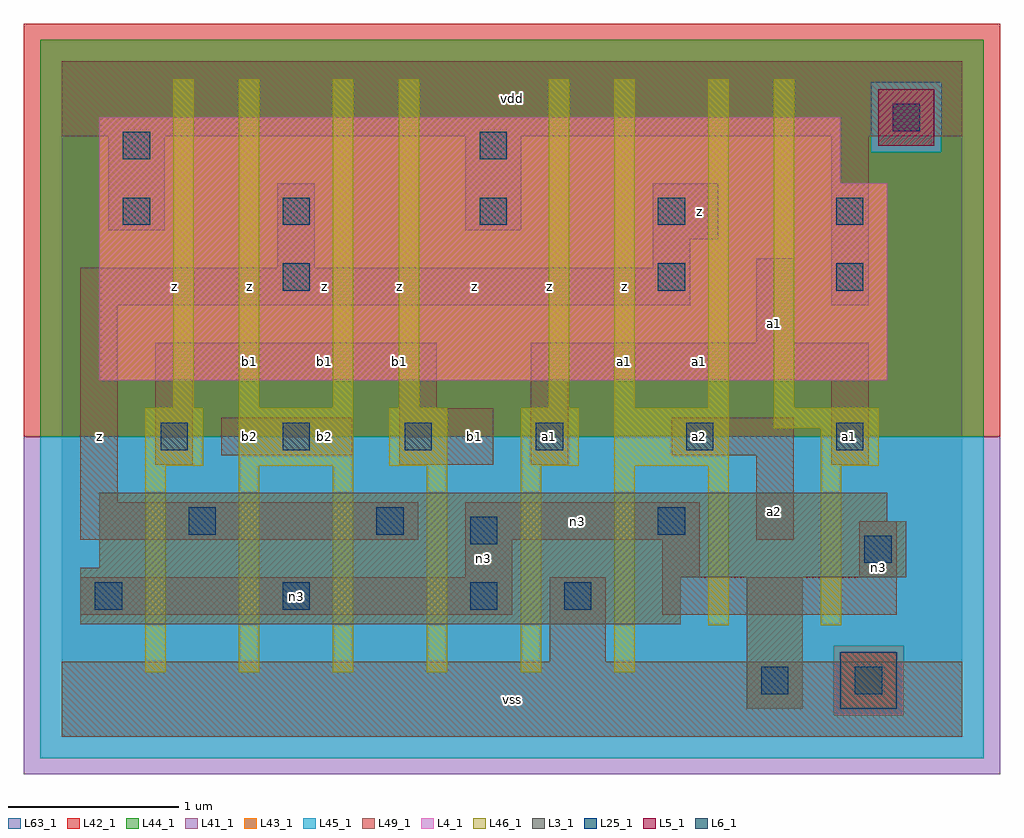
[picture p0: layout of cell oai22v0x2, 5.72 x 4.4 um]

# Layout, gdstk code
import gdstk
lib = gdstk.Library(unit=1e-6, precision=1e-09)
def R(c, l, rs):  # rectangles x0, y0, x1, y1
    for r in rs: c.add(gdstk.rectangle(r[:2], r[2:], *l))
def A(c, l, x, y, w, h, nx, ny, dx, dy):  # array of equal rectangles
    R(c, l, [(x+i*dx, y+j*dy, x+i*dx+w, y+j*dy+h) for i in range(nx) for j in range(ny)])
L3_1 = (3, 1)
L4_1 = (4, 1)
L5_1 = (5, 1)
L6_1 = (6, 1)
L25_1 = (25, 1)
L41_1 = (41, 1)
L42_1 = (42, 1)
L43_1 = (43, 1)
L44_1 = (44, 1)
L45_1 = (45, 1)
L46_1 = (46, 1)
L49_1 = (49, 1)
L63_1 = (63, 1)

oai22v0x2 = lib.new_cell('oai22v0x2')
R(oai22v0x2, L3_1, [(4.015,0.165,4.345,0.935), (0.11,0.66,3.63,0.935), (0.11,0.935,4.95,0.99), (0.22,0.99,4.95,1.265), (0.22,1.265,4.84,1.43)])
R(oai22v0x2, L4_1, [(0.22,2.09,4.84,3.245), (0.22,3.245,4.565,3.63)])
R(oai22v0x2, L5_1, [(4.785,3.465,5.115,3.795)])
R(oai22v0x2, L6_1, [(4.565,0.165,4.895,0.495)])
A(oai22v0x2, L25_1, 0.195, 0.745, 0.16, 0.16, 3, 1, 1.1, 0)
A(oai22v0x2, L25_1, 0.58, 1.68, 0.16, 0.16, 3, 1, 0.715, 0)
A(oai22v0x2, L25_1, 2.78, 1.68, 0.16, 0.16, 3, 1, 0.88, 0)
A(oai22v0x2, L25_1, 2.45, 3, 0.16, 0.16, 3, 1, 1.045, 0)
R(oai22v0x2, L25_1, [(4.1,0.25,4.26,0.41), (4.65,0.25,4.81,0.41), (2.945,0.745,3.105,0.905), (4.705,1.02,4.865,1.18), (2.395,1.13,2.555,1.29), (0.745,1.185,0.905,1.345), (1.845,1.185,2.005,1.345), (3.495,1.185,3.655,1.345), (1.295,2.615,1.455,2.775), (3.495,2.615,3.655,2.775), (4.54,2.615,4.7,2.775), (0.36,3,0.52,3.16), (1.295,3,1.455,3.16), (0.36,3.385,0.52,3.545), (2.45,3.385,2.61,3.545), (4.87,3.55,5.03,3.71)])
R(oai22v0x2, L41_1, [(-0.22,-0.22,5.5,1.76)])
R(oai22v0x2, L42_1, [(-0.22,1.76,5.5,4.18)])
R(oai22v0x2, L43_1, [(4.015,0.165,4.345,0.935), (4.565,0.165,4.895,0.495), (0.11,0.66,3.63,0.935), (0.11,0.935,4.95,0.99), (0.22,0.99,4.95,1.265), (0.22,1.265,4.84,1.43), (0.22,2.09,4.84,3.245), (0.22,3.245,4.565,3.63), (4.785,3.465,5.115,3.795)])
R(oai22v0x2, L44_1, [(4.525,0.125,4.935,0.535), (-0.125,1.76,5.405,3.425), (-0.125,3.425,4.745,3.835), (5.155,3.425,5.405,3.835), (-0.125,3.835,5.405,4.085)])
R(oai22v0x2, L45_1, [(-0.125,-0.125,5.405,0.125), (-0.125,0.125,4.525,0.535), (4.935,0.125,5.405,0.535), (-0.125,0.535,5.405,1.76), (4.745,3.425,5.155,3.835)])
A(oai22v0x2, L46_1, 0.49, 0.38, 0.12, 1.21, 6, 1, 0.55, 0)
R(oai22v0x2, L46_1, [(3.79,0.655,3.91,1.59), (4.45,0.655,4.57,1.59), (0.49,1.59,0.83,1.93), (1.04,1.59,1.71,1.93), (1.92,1.59,2.26,1.93), (2.69,1.59,3.03,1.93), (3.24,1.59,3.91,1.93), (4.45,1.59,4.79,1.81), (4.175,1.81,4.79,1.93), (0.655,1.93,0.775,3.855), (1.04,1.93,1.16,3.855), (1.59,1.93,1.71,3.855), (1.975,1.93,2.095,3.855), (2.855,1.93,2.975,3.855), (3.24,1.93,3.36,3.855), (3.79,1.93,3.91,3.855), (4.175,1.93,4.295,3.855)])
R(oai22v0x2, L49_1, [(0,0,5.28,0.44), (2.86,0.44,3.19,0.935), (0.11,0.715,2.64,0.935), (3.52,0.715,4.895,0.935), (2.365,0.935,2.64,1.155), (3.52,0.935,3.74,1.155), (4.675,0.935,4.895,1.265), (0.11,1.155,2.09,1.375), (2.365,1.155,3.74,1.375), (4.07,1.155,4.29,1.65), (0.11,1.375,0.33,2.53), (0.55,1.595,0.77,2.09), (1.98,1.595,2.53,1.925), (2.75,1.595,2.97,2.09), (4.51,1.595,4.73,2.09), (0.935,1.65,1.705,1.87), (3.575,1.65,4.29,1.87), (1.98,1.925,2.2,2.09), (0.55,2.09,2.2,2.31), (2.75,2.09,4.73,2.31), (4.07,2.31,4.29,2.805), (0.11,2.53,3.685,2.75), (4.51,2.53,4.73,3.52), (1.265,2.75,1.485,3.245), (3.465,2.75,3.685,2.915), (3.465,2.915,3.85,3.245), (0.275,2.97,0.605,3.52), (2.365,2.97,2.695,3.52), (0,3.52,5.28,3.96)])
R(oai22v0x2, L63_1, [(0,0,5.28,3.96)])
oai22v0x2.add(gdstk.Label('z', (0.22,1.76), layer=49, texttype=1))
oai22v0x2.add(gdstk.Label('z', (0.66,2.64), layer=49, texttype=1))
oai22v0x2.add(gdstk.Label('b2', (1.54,1.76), layer=49, texttype=1))
oai22v0x2.add(gdstk.Label('b2', (1.1,1.76), layer=49, texttype=1))
oai22v0x2.add(gdstk.Label('b1', (1.1,2.2), layer=49, texttype=1))
oai22v0x2.add(gdstk.Label('b1', (1.54,2.2), layer=49, texttype=1))
oai22v0x2.add(gdstk.Label('z', (1.1,2.64), layer=49, texttype=1))
oai22v0x2.add(gdstk.Label('z', (1.54,2.64), layer=49, texttype=1))
oai22v0x2.add(gdstk.Label('vss', (2.64,0.22), layer=49, texttype=1))
oai22v0x2.add(gdstk.Label('n3', (2.475,1.045), layer=49, texttype=1))
oai22v0x2.add(gdstk.Label('n3', (1.375,0.825), layer=49, texttype=1))
oai22v0x2.add(gdstk.Label('b1', (2.42,1.76), layer=49, texttype=1))
oai22v0x2.add(gdstk.Label('a1', (2.86,1.76), layer=49, texttype=1))
oai22v0x2.add(gdstk.Label('b1', (1.98,2.2), layer=49, texttype=1))
oai22v0x2.add(gdstk.Label('z', (1.98,2.64), layer=49, texttype=1))
oai22v0x2.add(gdstk.Label('z', (2.42,2.64), layer=49, texttype=1))
oai22v0x2.add(gdstk.Label('z', (2.86,2.64), layer=49, texttype=1))
oai22v0x2.add(gdstk.Label('vdd', (2.64,3.74), layer=49, texttype=1))
oai22v0x2.add(gdstk.Label('n3', (3.025,1.265), layer=49, texttype=1))
oai22v0x2.add(gdstk.Label('a2', (4.18,1.32), layer=49, texttype=1))
oai22v0x2.add(gdstk.Label('a2', (3.74,1.76), layer=49, texttype=1))
oai22v0x2.add(gdstk.Label('a1', (3.3,2.2), layer=49, texttype=1))
oai22v0x2.add(gdstk.Label('a1', (3.74,2.2), layer=49, texttype=1))
oai22v0x2.add(gdstk.Label('a1', (4.18,2.42), layer=49, texttype=1))
oai22v0x2.add(gdstk.Label('z', (3.3,2.64), layer=49, texttype=1))
oai22v0x2.add(gdstk.Label('z', (3.74,3.08), layer=49, texttype=1))
oai22v0x2.add(gdstk.Label('n3', (4.785,0.99), layer=49, texttype=1))
oai22v0x2.add(gdstk.Label('a1', (4.62,1.76), layer=49, texttype=1))

lib.write_gds('oai22v0x2.gds')
